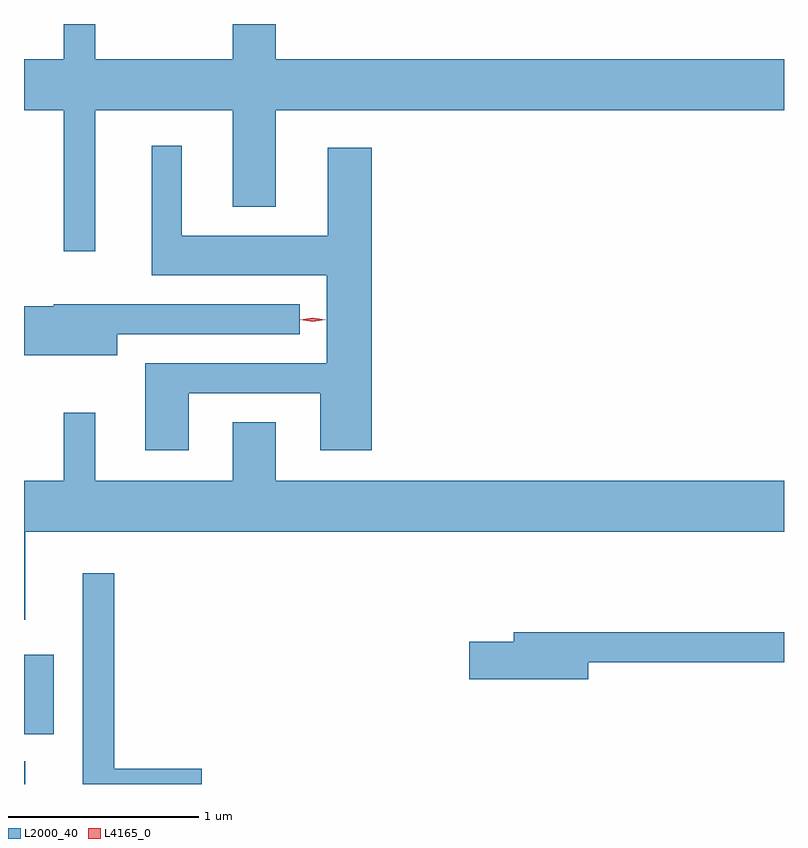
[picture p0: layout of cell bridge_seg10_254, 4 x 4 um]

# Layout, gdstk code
import gdstk
lib = gdstk.Library(unit=1e-6, precision=1e-09)
def R(c, l, rs):  # rectangles x0, y0, x1, y1
    for r in rs: c.add(gdstk.rectangle(r[:2], r[2:], *l))
def P(c, l, *ps):  # polygons
    for p in ps: c.add(gdstk.Polygon(p, *l))
L2000_40 = (2000, 40)
L4165_0 = (4165, 0)

bridge_seg10_254 = lib.new_cell('bridge_seg10_254')
R(bridge_seg10_254, L2000_40, [(1806.143,2088.169,1806.149,2088.288), (1806.143,2088.431,1806.299,2088.849)])
P(bridge_seg10_254, L2000_40, [(1806.519,2091.716),(1807.241,2091.716),(1807.241,2091.206),(1807.469,2091.206),(1807.469,2091.716),(1810.143,2091.716),(1810.143,2091.984),(1807.469,2091.984),(1807.469,2092.169),(1807.241,2092.169),(1807.241,2091.984),(1806.519,2091.984),(1806.519,2092.169),(1806.351,2092.169),(1806.351,2091.984),(1806.143,2091.984),(1806.143,2091.716),(1806.351,2091.716),(1806.351,2090.972),(1806.519,2090.972)],
  [(1807.009,2090.226),(1807.701,2090.226),(1807.701,2089.926),(1807.974,2089.926),(1807.974,2091.519),(1807.741,2091.519),(1807.741,2091.054),(1806.974,2091.054),(1806.974,2091.528),(1806.816,2091.528),(1806.816,2090.846),(1807.736,2090.846),(1807.736,2090.384),(1806.781,2090.384),(1806.781,2089.926),(1807.009,2089.926)],
  [(1806.634,2090.536),(1807.593,2090.536),(1807.593,2090.694),(1806.3,2090.694),(1806.3,2090.684),(1806.143,2090.684),(1806.143,2090.426),(1806.634,2090.426)],
  [(1806.149,2089.496),(1810.143,2089.496),(1810.143,2089.764),(1807.469,2089.764),(1807.469,2090.074),(1807.241,2090.074),(1807.241,2089.764),(1806.519,2089.764),(1806.519,2090.123),(1806.351,2090.123),(1806.351,2089.764),(1806.143,2089.764),(1806.143,2089.033),(1806.149,2089.033)],
  [(1807.079,2088.249),(1806.619,2088.249),(1806.619,2089.278),(1806.451,2089.278),(1806.451,2088.169),(1807.079,2088.169)],
  [(1809.114,2088.811),(1810.143,2088.811),(1810.143,2088.969),(1808.721,2088.969),(1808.721,2088.919),(1808.486,2088.919),(1808.486,2088.721),(1809.114,2088.721)])
P(bridge_seg10_254, L4165_0, [(1807.663,2090.603),(1807.594,2090.612),(1807.593,2090.613),(1807.594,2090.613),(1807.663,2090.623),(1807.732,2090.613),(1807.732,2090.613),(1807.732,2090.612)],
  [(1807.664,2090.603),(1807.597,2090.612),(1807.597,2090.613),(1807.597,2090.613),(1807.664,2090.623),(1807.729,2090.613),(1807.73,2090.613),(1807.729,2090.612)])

lib.write_gds('bridge_seg10_254.gds')
